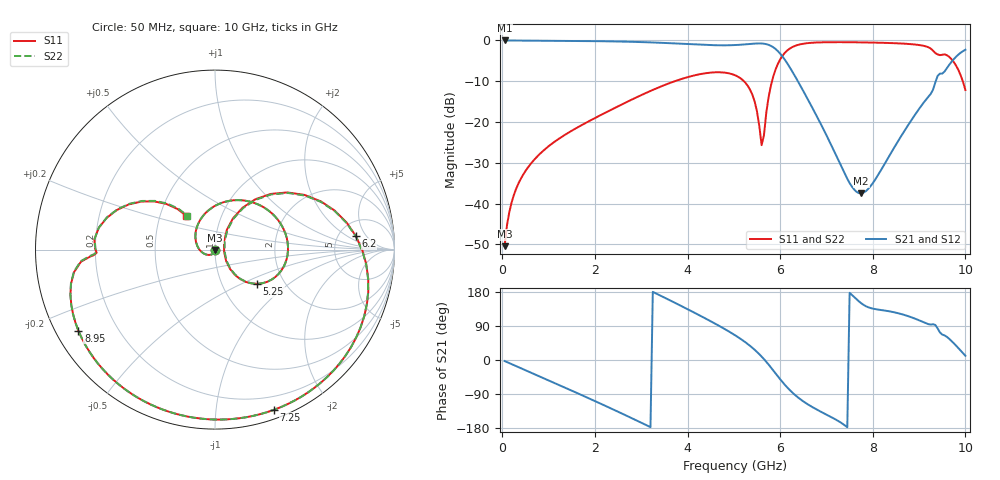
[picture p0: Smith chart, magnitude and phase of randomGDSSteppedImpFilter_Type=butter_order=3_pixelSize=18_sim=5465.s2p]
! freq	dB(S11)	phase(S11)	dB(S12)	phase(S12)
!  dB(S21)	phase(S21)	dB(S22)	phase(S22)
!S-par simulation data
#  GHz  S  DB  R 50
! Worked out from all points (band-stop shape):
!   200 points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, 50 MHz to 10 GHz, reference 50 ohm
!   highest |S21| = -0.02 dB at 50 MHz (marker M1); lowest = -37.4 dB at 7.75 GHz (marker M2)
!   |S21| within 3 dB of the highest: start of sweep to 5.982 GHz; 9.899 GHz to end of sweep
!   lowest |S11| = -50.4 dB at 50 MHz (marker M3), VSWR 1.01, Z = 50.1 - j0.269 ohm
!   |S11| at or under -10 dB: start of sweep to 3.726 GHz; 5.217 GHz to 5.825 GHz (607.6 MHz wide, 11 % of centre); 9.944 GHz to end of sweep
!   |S22| runs from -50.4 to -0.4 dB; largest |S21 - S12| = 0
!   S11 on the Smith chart (normalised r, x): 50 MHz: 1.00, -0.01; 5.25 GHz: 1.46, -0.61; 6.2 GHz: 7.27, +2.91; 7.25 GHz: 0.08, -1.43; 8.95 GHz: 0.07, -0.27; 10 GHz: 0.68, +0.27
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0.05  -50.42 -63.0  -0.02 -2.7  -0.02 -2.7  -50.42 -63.0
0.2  -39.75 -93.1  -0.03 -10.8  -0.03 -10.8  -39.75 -93.2
0.5  -32.01 -115.5  -0.05 -26.8  -0.05 -26.8  -32.01 -115.6
1.15  -24.67 -153.1  -0.09 -61.8  -0.09 -61.8  -24.66 -153.3
1.75  -20.54 173.7  -0.15 -94.5  -0.15 -94.5  -20.53 173.4
2.65  -15.31 123.3  -0.31 -145.1  -0.31 -145.1  -15.31 123.0
3.4  -11.42 79.6  -0.58 170.9  -0.58 170.9  -11.41 79.4
4.3  -8.21 24.9  -1.07 115.2  -1.07 115.2  -8.21 24.8
5.05  -8.66 -24.6  -1.13 63.5  -1.13 63.5  -8.66 -24.5
5.25  -10.39 -39.2  -0.97 46.7  -0.97 46.7  -10.38 -38.9
5.45  -15.00 -51.8  -0.79 27.0  -0.79 27.0  -14.98 -51.2
5.6  -25.68 -13.2  -0.76 9.1  -0.76 9.1  -25.23 -12.2
5.85  -8.89 51.3  -1.67 -27.3  -1.67 -27.3  -8.87 50.6
6.2  -2.07 5.5  -6.46 -78.5  -6.46 -78.5  -2.06 5.2
6.7  -0.57 -38.9  -16.62 -124.6  -16.62 -124.6  -0.57 -39.1
7.25  -0.43 -69.8  -29.19 -160.6  -29.19 -160.6  -0.43 -70.0
7.75  -0.49 -92.7  -37.45 149.9  -37.45 149.9  -0.48 -92.9
8.35  -0.64 -118.9  -28.43 128.7  -28.43 128.7  -0.64 -119.1
8.95  -1.06 -149.3  -17.59 107.3  -17.59 107.3  -1.06 -149.5
9.35  -3.11 -176.7  -10.32 92.6  -10.32 92.6  -3.10 -177.0
9.7  -4.60 157.9  -5.26 50.2  -5.26 50.2  -4.61 157.5
10  -12.15 130.2  -2.30 11.1  -2.30 11.1  -12.23 129.1
